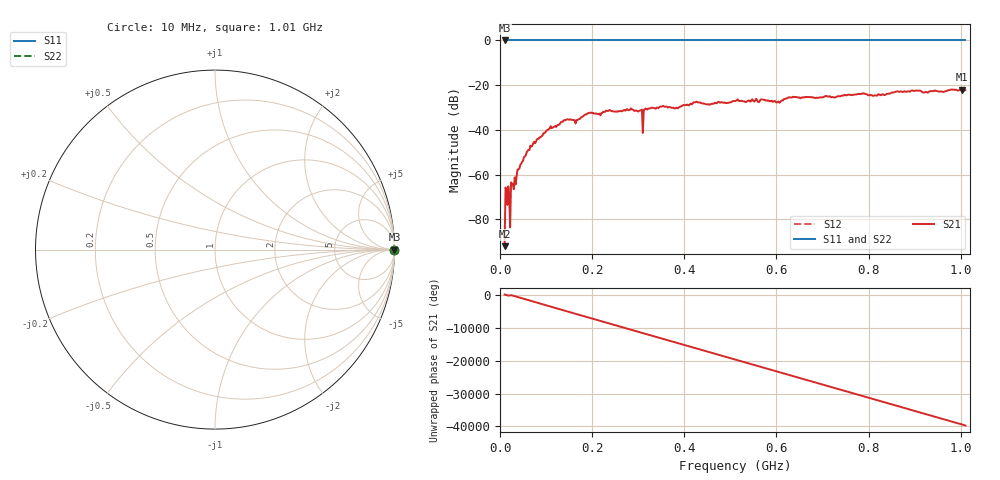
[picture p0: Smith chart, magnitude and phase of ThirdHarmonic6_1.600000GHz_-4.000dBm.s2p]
! 8/16/2025 7:04:18 PM
! C:\ANRITSUVNA\TEMP\TEMP.S2P
! CHANNEL.1
! TR.MEASUREMENT
! RAW.DATA
! RF.CORRECTION.OFF
! AVERAGING.OFF
! IF.BANDWIDTH: 5KHZ
! SWEEPTYPE:  FREQ.SWEEP(Linear)
! Reference Plane Port Info
! PORT:  PORT1  PORT2
! DISTANCE:  0  m  0  m
! TIME:  0  s  0  s
! PHASE.OFFSET:  0  deg.  0  deg.
! LOSS:  0  dB  0  dB
! REF.LOSS:  0  dB  0  dB
! REF.FREQ:  0  Hz  0  Hz
! Power Info
! POWER:  -20  dBm  -20  dBm
! EFF.POWER:  -20  dBm  -20  dBm
! SOURCE.ATTEN:  0  dB  0  dB
! TEST.ATTEN:  0  dB  0  dB
# GHZ S RI R 50.0
! FREQ.GHZ  S11RE  S11IM  S21RE  S21IM  S12RE  S12IM  S22RE  S22IM
!; PortSelection: Port_12
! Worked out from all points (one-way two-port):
!   501 points, 10 MHz to 1.01 GHz, reference 50 ohm
!   highest |S21| = -21.96 dB at 1.002 GHz (marker M1); lowest = -92.0 dB at 10 MHz (marker M2)
!   lowest |S11| = 0.0 dB at 10 MHz (marker M3)
!   |S11| at or under -10 dB: nowhere
!   |S22| runs from 0.0 to 0.0 dB; largest |S21 - S12| = 1.1
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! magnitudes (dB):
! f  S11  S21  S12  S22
! 10 MHz  0.0  -92.0  0.0  0.0
! 16 MHz  0.0  -73.5  0.0  0.0
! 18 MHz  0.0  -65.3  0.0  0.0
! 20 MHz  0.0  -69.9  0.0  0.0
! 26 MHz  0.0  -63.9  0.0  0.0
! 28 MHz  0.0  -64.5  0.0  0.0
! 32 MHz  0.0  -61.2  0.0  0.0
! 42 MHz  0.0  -57.3  0.0  0.0
! 70 MHz  0.0  -47.1  0.0  0.0
! 106 MHz  0.0  -39.7  0.0  0.0
! 178 MHz  0.0  -34.2  0.0  0.0
! 280 MHz  0.0  -31.2  0.0  0.0
! 304 MHz  0.0  -31.3  0.0  0.0
! 306 MHz  0.0  -31.2  0.0  0.0
! 314 MHz  0.0  -30.9  0.0  0.0
! 316 MHz  0.0  -30.4  0.0  0.0
! 344 MHz  0.0  -30.3  0.0  0.0
! 510 MHz  0.0  -27.1  0.0  0.0
! 678 MHz  0.0  -25.5  0.0  0.0
! 844 MHz  0.0  -23.8  0.0  0.0
! 1.002 GHz  0.0  -22.0  0.0  0.0
! 1.01 GHz  0.0  -22.2  0.0  0.0
